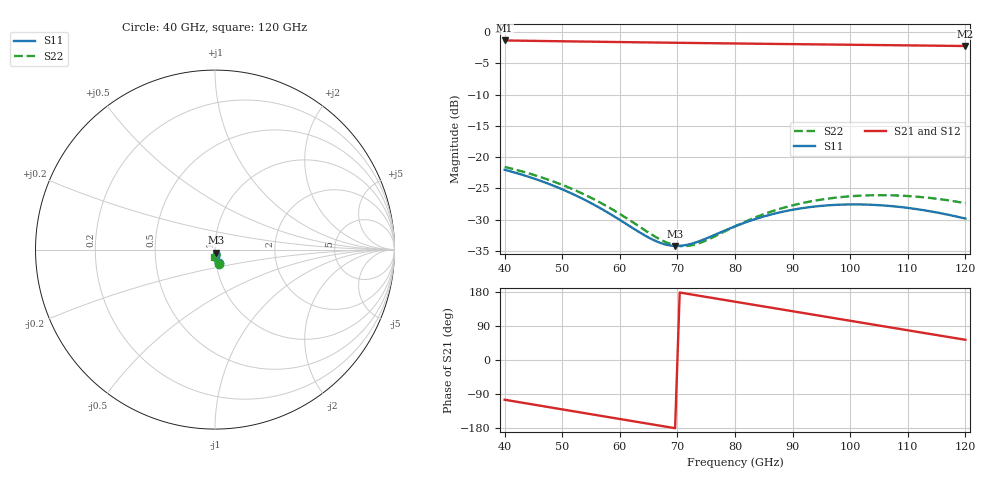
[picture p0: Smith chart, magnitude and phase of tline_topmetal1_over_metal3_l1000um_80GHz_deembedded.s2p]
! Created with skrf 2.2.0 (http://scikit-rf.org).
# GHz S DB R 50.0
! Port[1] = P1
! Port[2] = P2
!freq dBS11 angS11 dBS21 angS21 dBS12 angS12 dBS22 angS22
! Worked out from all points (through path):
!   101 points, 40 GHz to 120 GHz, reference 50 ohm
!   highest |S21| = -1.33 dB at 40 GHz (marker M1); lowest = -2.2 dB at 120 GHz (marker M2)
!   group delay of S21, straight-line fit = 7 ps
!   lowest |S11| = -34.2 dB at 69.6 GHz (marker M3), VSWR 1.04, Z = 50.7 - j1.83 ohm
!   |S11| at or under -10 dB: start of sweep to end of sweep
!   |S22| runs from -34.2 to -21.6 dB; largest |S21 - S12| = 9.9e-14
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40  -22.02 -72.1  -1.33 -104.8  -1.33 -104.8  -21.57 -74.0
43.2  -22.86 -78.3  -1.37 -113.0  -1.37 -113.0  -22.33 -80.5
46.4  -23.84 -84.0  -1.41 -121.1  -1.41 -121.1  -23.23 -86.7
49.6  -24.99 -89.1  -1.45 -129.3  -1.45 -129.3  -24.29 -92.3
53.6  -26.68 -93.9  -1.50 -139.5  -1.50 -139.5  -25.87 -98.1
57.6  -28.69 -96.2  -1.55 -149.6  -1.55 -149.6  -27.77 -101.8
60.8  -30.50 -94.8  -1.59 -157.7  -1.59 -157.7  -29.55 -102.2
64.8  -32.76 -87.0  -1.64 -167.8  -1.64 -167.8  -31.96 -97.0
67.2  -33.78 -78.2  -1.67 -173.9  -1.67 -173.9  -33.26 -89.6
69.6  -34.21 -67.5  -1.69 -179.9  -1.69 -179.9  -34.10 -78.9
71.2  -34.11 -60.5  -1.71 176.0  -1.71 176.0  -34.24 -70.9
73.6  -33.52 -51.8  -1.74 170.0  -1.74 170.0  -33.82 -59.9
80  -31.07 -42.2  -1.81 153.8  -1.81 153.8  -31.07 -46.0
83.2  -30.00 -42.7  -1.84 145.8  -1.84 145.8  -29.76 -45.6
87.2  -28.96 -45.7  -1.88 135.7  -1.88 135.7  -28.43 -48.4
93.6  -27.93 -53.4  -1.95 119.6  -1.95 119.6  -27.00 -56.5
97.6  -27.63 -59.1  -1.99 109.6  -1.99 109.6  -26.47 -62.6
100.8  -27.56 -63.7  -2.02 101.5  -2.02 101.5  -26.21 -67.7
104  -27.63 -68.3  -2.05 93.5  -2.05 93.5  -26.10 -73.0
107.2  -27.84 -72.6  -2.08 85.4  -2.08 85.4  -26.11 -78.2
113.6  -28.62 -80.1  -2.15 69.4  -2.15 69.4  -26.50 -88.1
120  -29.82 -84.9  -2.21 53.3  -2.21 53.3  -27.37 -96.6
